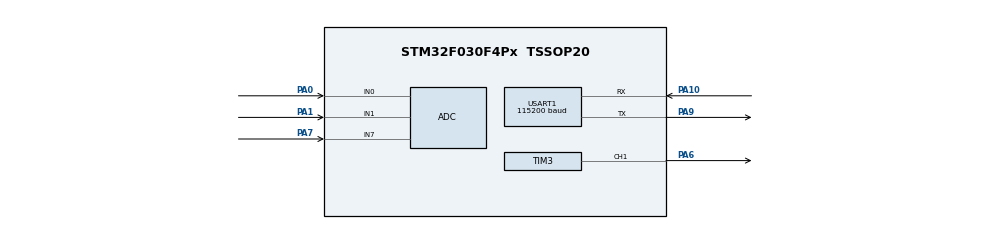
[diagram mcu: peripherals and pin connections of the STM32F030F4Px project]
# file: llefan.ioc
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ADC.ContinuousConvMode=ENABLE
ADC.DMAContinuousRequests=ENABLE
ADC.EOCSelection=ADC_EOC_SINGLE_CONV
ADC.SamplingTime=ADC_SAMPLETIME_55CYCLES_5
Dma.ADC.0.Direction=DMA_PERIPH_TO_MEMORY
Dma.ADC.0.Instance=DMA1_Channel1
Dma.ADC.0.MemDataAlignment=DMA_MDATAALIGN_HALFWORD
Dma.ADC.0.MemInc=DMA_MINC_ENABLE
Dma.ADC.0.Mode=DMA_CIRCULAR
Dma.ADC.0.PeriphDataAlignment=DMA_PDATAALIGN_HALFWORD
Dma.ADC.0.PeriphInc=DMA_PINC_DISABLE
Dma.ADC.0.Priority=DMA_PRIORITY_LOW
Dma.Request0=ADC
Mcu.Family=STM32F0
Mcu.Name=STM32F030F4Px
Mcu.Package=TSSOP20
NVIC.DMA1_Channel1_IRQn=true\:1\:0\:true\:false\:true\:false\:true
NVIC.USART1_IRQn=true\:2\:0\:true\:false\:true\:true\:true
PA0.Mode=IN0
PA0.Signal=ADC_IN0
PA1.Mode=IN1
PA1.Signal=ADC_IN1
PA10.Mode=Asynchronous
PA10.Signal=USART1_RX
PA13.Mode=Serial_Wire
PA13.Signal=SYS_SWDIO
PA14.Mode=Serial_Wire
PA14.Signal=SYS_SWCLK
PA6.Signal=S_TIM3_CH1
PA7.Mode=IN7
PA7.Signal=ADC_IN7
PA9.Mode=Asynchronous
PA9.Signal=USART1_TX
ProjectManager.HeapSize=0x200
ProjectManager.StackSize=0x400
ProjectManager.TargetToolchain=Makefile
RCC.AHBFreq_Value=48000000
RCC.APB1Freq_Value=48000000
RCC.APB1TimFreq_Value=48000000
RCC.HCLKFreq_Value=48000000
RCC.PLLMUL=RCC_PLL_MUL12
RCC.SYSCLKFreq_VALUE=48000000
RCC.SYSCLKSource=RCC_SYSCLKSOURCE_PLLCLK
SH.S_TIM3_CH1.0=TIM3_CH1,PWM Generation1 CH1
TIM3.AutoReloadPreload=TIM_AUTORELOAD_PRELOAD_ENABLE
TIM3.Channel-PWM\ Generation1\ CH1=TIM_CHANNEL_1
TIM3.Period=256
USART1.BaudRate=115200
USART1.VirtualMode-Asynchronous=VM_ASYNC
board=custom

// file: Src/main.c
/* USER CODE BEGIN Header */
/**
  ******************************************************************************
  * @file           : main.c
  * @brief          : Main program body
  ******************************************************************************
  * @attention
  *
  * <h2><center>&copy; Copyright (c) 2019 STMicroelectronics.
  * All rights reserved.</center></h2>
  *
  * This software component is licensed by ST under BSD 3-Clause license,
  * the "License"; You may not use this file except in compliance with the
  * License. You may obtain a copy of the License at:
  *                        opensource.org/licenses/BSD-3-Clause
  *
  ******************************************************************************
  */
/* USER CODE END Header */

#include "main.h"

/* USER CODE BEGIN Includes */
#include "adc.h"
#include "stdio.h"
/* USER CODE END Includes */

/* USER CODE BEGIN PV */
extern uint32_t ticks;
/* USER CODE END PV */

void SystemClock_Config(void);
static void MX_GPIO_Init(void);
static void MX_DMA_Init(void);
static void MX_ADC_Init(void);
static void MX_USART1_UART_Init(void);
static void MX_TIM3_Init(void);

int main(void)
{

  /* MCU Configuration--------------------------------------------------------*/

  /* Reset of all peripherals, Initializes the Flash interface and the Systick. */

  LL_APB1_GRP2_EnableClock(LL_APB1_GRP2_PERIPH_SYSCFG);
  LL_APB1_GRP1_EnableClock(LL_APB1_GRP1_PERIPH_PWR);

  /* System interrupt init*/

  /* Configure the system clock */
  SystemClock_Config();

  /* Initialize all configured peripherals */
  MX_GPIO_Init();
  MX_DMA_Init();
  MX_ADC_Init();
  MX_USART1_UART_Init();
  MX_TIM3_Init();
  /* USER CODE BEGIN 2 */
  LL_SYSTICK_EnableIT();
  start_adc_dma(ADC1, DMA1);
  LL_TIM_CC_EnableChannel(TIM3, LL_TIM_CHANNEL_CH1);
  LL_TIM_EnableCounter(TIM3);

  LL_TIM_CC_EnableChannel(TIM14, LL_TIM_CHANNEL_CH1);
  LL_TIM_EnableCounter(TIM14);
  LL_TIM_EnableIT_UPDATE(TIM14);
  /* USER CODE END 2 */

  /* Infinite loop */
  while (1)
  {

  }
}

void SystemClock_Config(void)
{
  LL_FLASH_SetLatency(LL_FLASH_LATENCY_1);

  if(LL_FLASH_GetLatency() != LL_FLASH_LATENCY_1)
  {
  Error_Handler();
  }
  LL_RCC_HSI_Enable();

   /* Wait till HSI is ready */
  while(LL_RCC_HSI_IsReady() != 1)
  {

  }
  LL_RCC_HSI_SetCalibTrimming(16);
  LL_RCC_HSI14_Enable();

   /* Wait till HSI14 is ready */
  while(LL_RCC_HSI14_IsReady() != 1)
  {

  }
  LL_RCC_HSI14_SetCalibTrimming(16);
  LL_RCC_PLL_ConfigDomain_SYS(LL_RCC_PLLSOURCE_HSI_DIV_2, LL_RCC_PLL_MUL_12);
  LL_RCC_PLL_Enable();

   /* Wait till PLL is ready */
  while(LL_RCC_PLL_IsReady() != 1)
  {

  }
  LL_RCC_SetAHBPrescaler(LL_RCC_SYSCLK_DIV_1);
  LL_RCC_SetAPB1Prescaler(LL_RCC_APB1_DIV_1);
  LL_RCC_SetSysClkSource(LL_RCC_SYS_CLKSOURCE_PLL);

   /* Wait till System clock is ready */
  while(LL_RCC_GetSysClkSource() != LL_RCC_SYS_CLKSOURCE_STATUS_PLL)
  {

  }
  LL_Init1msTick(48000000);
  LL_SYSTICK_SetClkSource(LL_SYSTICK_CLKSOURCE_HCLK);
  LL_SetSystemCoreClock(48000000);
  LL_RCC_HSI14_EnableADCControl();
  LL_RCC_SetUSARTClockSource(LL_RCC_USART1_CLKSOURCE_PCLK1);
}

static void MX_ADC_Init(void)
{

  LL_ADC_InitTypeDef ADC_InitStruct = {0};
  LL_ADC_REG_InitTypeDef ADC_REG_InitStruct = {0};

  LL_GPIO_InitTypeDef GPIO_InitStruct = {0};

  /* Peripheral clock enable */
  LL_APB1_GRP2_EnableClock(LL_APB1_GRP2_PERIPH_ADC1);

  LL_AHB1_GRP1_EnableClock(LL_AHB1_GRP1_PERIPH_GPIOA);
  /**ADC GPIO Configuration
  PA0   ------> ADC_IN0
  PA1   ------> ADC_IN1
  PA7   ------> ADC_IN7
  */
  GPIO_InitStruct.Pin = LL_GPIO_PIN_0;
  GPIO_InitStruct.Mode = LL_GPIO_MODE_ANALOG;
  GPIO_InitStruct.Pull = LL_GPIO_PULL_NO;
  LL_GPIO_Init(GPIOA, &GPIO_InitStruct);

  GPIO_InitStruct.Pin = LL_GPIO_PIN_1;
  GPIO_InitStruct.Mode = LL_GPIO_MODE_ANALOG;
  GPIO_InitStruct.Pull = LL_GPIO_PULL_NO;
  LL_GPIO_Init(GPIOA, &GPIO_InitStruct);

  GPIO_InitStruct.Pin = LL_GPIO_PIN_7;
  GPIO_InitStruct.Mode = LL_GPIO_MODE_ANALOG;
  GPIO_InitStruct.Pull = LL_GPIO_PULL_NO;
  LL_GPIO_Init(GPIOA, &GPIO_InitStruct);

  /* ADC DMA Init */

  /* ADC Init */
  LL_DMA_SetDataTransferDirection(DMA1, LL_DMA_CHANNEL_1, LL_DMA_DIRECTION_PERIPH_TO_MEMORY);

  LL_DMA_SetChannelPriorityLevel(DMA1, LL_DMA_CHANNEL_1, LL_DMA_PRIORITY_LOW);

  LL_DMA_SetMode(DMA1, LL_DMA_CHANNEL_1, LL_DMA_MODE_CIRCULAR);

  LL_DMA_SetPeriphIncMode(DMA1, LL_DMA_CHANNEL_1, LL_DMA_PERIPH_NOINCREMENT);

  LL_DMA_SetMemoryIncMode(DMA1, LL_DMA_CHANNEL_1, LL_DMA_MEMORY_INCREMENT);

  LL_DMA_SetPeriphSize(DMA1, LL_DMA_CHANNEL_1, LL_DMA_PDATAALIGN_HALFWORD);

  LL_DMA_SetMemorySize(DMA1, LL_DMA_CHANNEL_1, LL_DMA_MDATAALIGN_HALFWORD);

  /** Configure Regular Channel
  */
  LL_ADC_REG_SetSequencerChAdd(ADC1, LL_ADC_CHANNEL_0);
  /** Configure Regular Channel
  */
  LL_ADC_REG_SetSequencerChAdd(ADC1, LL_ADC_CHANNEL_1);
  /** Configure Regular Channel
  */
  LL_ADC_REG_SetSequencerChAdd(ADC1, LL_ADC_CHANNEL_7);
  /** Configure the global features of the ADC (Clock, Resolution, Data Alignment and number of conversion)
  */
  ADC_InitStruct.Clock = LL_ADC_CLOCK_ASYNC;
  ADC_InitStruct.Resolution = LL_ADC_RESOLUTION_12B;
  ADC_InitStruct.DataAlignment = LL_ADC_DATA_ALIGN_RIGHT;
  ADC_InitStruct.LowPowerMode = LL_ADC_LP_MODE_NONE;
  LL_ADC_Init(ADC1, &ADC_InitStruct);
  ADC_REG_InitStruct.TriggerSource = LL_ADC_REG_TRIG_SOFTWARE;
  ADC_REG_InitStruct.SequencerDiscont = LL_ADC_REG_SEQ_DISCONT_DISABLE;
  ADC_REG_InitStruct.ContinuousMode = LL_ADC_REG_CONV_CONTINUOUS;
  ADC_REG_InitStruct.DMATransfer = LL_ADC_REG_DMA_TRANSFER_UNLIMITED;
  ADC_REG_InitStruct.Overrun = LL_ADC_REG_OVR_DATA_PRESERVED;
  LL_ADC_REG_Init(ADC1, &ADC_REG_InitStruct);
  LL_ADC_REG_SetSequencerScanDirection(ADC1, LL_ADC_REG_SEQ_SCAN_DIR_FORWARD);
  LL_ADC_SetSamplingTimeCommonChannels(ADC1, LL_ADC_SAMPLINGTIME_55CYCLES_5);
  LL_ADC_DisableIT_EOC(ADC1);
  LL_ADC_DisableIT_EOS(ADC1);

}

static void MX_TIM3_Init(void)
{

  LL_TIM_InitTypeDef TIM_InitStruct = {0};
  LL_TIM_OC_InitTypeDef TIM_OC_InitStruct = {0};

  LL_GPIO_InitTypeDef GPIO_InitStruct = {0};

  /* Peripheral clock enable */
  LL_APB1_GRP1_EnableClock(LL_APB1_GRP1_PERIPH_TIM3);

  TIM_InitStruct.Prescaler = 0;
  TIM_InitStruct.CounterMode = LL_TIM_COUNTERMODE_UP;
  TIM_InitStruct.Autoreload = 256;
  TIM_InitStruct.ClockDivision = LL_TIM_CLOCKDIVISION_DIV1;
  LL_TIM_Init(TIM3, &TIM_InitStruct);
  LL_TIM_EnableARRPreload(TIM3);
  LL_TIM_OC_EnablePreload(TIM3, LL_TIM_CHANNEL_CH1);
  TIM_OC_InitStruct.OCMode = LL_TIM_OCMODE_PWM1;
  TIM_OC_InitStruct.OCState = LL_TIM_OCSTATE_DISABLE;
  TIM_OC_InitStruct.OCNState = LL_TIM_OCSTATE_DISABLE;
  TIM_OC_InitStruct.CompareValue = 0;
  TIM_OC_InitStruct.OCPolarity = LL_TIM_OCPOLARITY_HIGH;
  LL_TIM_OC_Init(TIM3, LL_TIM_CHANNEL_CH1, &TIM_OC_InitStruct);
  LL_TIM_OC_DisableFast(TIM3, LL_TIM_CHANNEL_CH1);
  LL_TIM_SetTriggerOutput(TIM3, LL_TIM_TRGO_RESET);
  LL_TIM_DisableMasterSlaveMode(TIM3);
  LL_AHB1_GRP1_EnableClock(LL_AHB1_GRP1_PERIPH_GPIOA);
  /**TIM3 GPIO Configuration
  PA6   ------> TIM3_CH1
  */
  GPIO_InitStruct.Pin = LL_GPIO_PIN_6;
  GPIO_InitStruct.Mode = LL_GPIO_MODE_ALTERNATE;
  GPIO_InitStruct.Speed = LL_GPIO_SPEED_FREQ_LOW;
  GPIO_InitStruct.OutputType = LL_GPIO_OUTPUT_PUSHPULL;
  GPIO_InitStruct.Pull = LL_GPIO_PULL_NO;
  GPIO_InitStruct.Alternate = LL_GPIO_AF_1;
  LL_GPIO_Init(GPIOA, &GPIO_InitStruct);

}

static void MX_USART1_UART_Init(void)
{

  LL_USART_InitTypeDef USART_InitStruct = {0};

  LL_GPIO_InitTypeDef GPIO_InitStruct = {0};

  /* Peripheral clock enable */
  LL_APB1_GRP2_EnableClock(LL_APB1_GRP2_PERIPH_USART1);

  LL_AHB1_GRP1_EnableClock(LL_AHB1_GRP1_PERIPH_GPIOA);
  /**USART1 GPIO Configuration
  PA9   ------> USART1_TX
  PA10   ------> USART1_RX
  */
  GPIO_InitStruct.Pin = LL_GPIO_PIN_9;
  GPIO_InitStruct.Mode = LL_GPIO_MODE_ALTERNATE;
  GPIO_InitStruct.Speed = LL_GPIO_SPEED_FREQ_HIGH;
  GPIO_InitStruct.OutputType = LL_GPIO_OUTPUT_PUSHPULL;
  GPIO_InitStruct.Pull = LL_GPIO_PULL_NO;
  GPIO_InitStruct.Alternate = LL_GPIO_AF_1;
  LL_GPIO_Init(GPIOA, &GPIO_InitStruct);

  GPIO_InitStruct.Pin = LL_GPIO_PIN_10;
  GPIO_InitStruct.Mode = LL_GPIO_MODE_ALTERNATE;
  GPIO_InitStruct.Speed = LL_GPIO_SPEED_FREQ_HIGH;
  GPIO_InitStruct.OutputType = LL_GPIO_OUTPUT_PUSHPULL;
  GPIO_InitStruct.Pull = LL_GPIO_PULL_NO;
  GPIO_InitStruct.Alternate = LL_GPIO_AF_1;
  LL_GPIO_Init(GPIOA, &GPIO_InitStruct);

  /* USART1 interrupt Init */
  NVIC_SetPriority(USART1_IRQn, 2);
  NVIC_EnableIRQ(USART1_IRQn);

  USART_InitStruct.BaudRate = 115200;
  USART_InitStruct.DataWidth = LL_USART_DATAWIDTH_8B;
  USART_InitStruct.StopBits = LL_USART_STOPBITS_1;
  USART_InitStruct.Parity = LL_USART_PARITY_NONE;
  USART_InitStruct.TransferDirection = LL_USART_DIRECTION_TX_RX;
  USART_InitStruct.HardwareFlowControl = LL_USART_HWCONTROL_NONE;
  USART_InitStruct.OverSampling = LL_USART_OVERSAMPLING_16;
  LL_USART_Init(USART1, &USART_InitStruct);
  LL_USART_DisableIT_CTS(USART1);
  LL_USART_ConfigAsyncMode(USART1);
  LL_USART_Enable(USART1);
  /* USER CODE BEGIN USART1_Init 2 */

  LL_USART_EnableIT_RXNE(USART1);
  /* USER CODE END USART1_Init 2 */

}

static void MX_DMA_Init(void)
{

  /* Init with LL driver */
  /* DMA controller clock enable */
  LL_AHB1_GRP1_EnableClock(LL_AHB1_GRP1_PERIPH_DMA1);

  /* DMA interrupt init */
  /* DMA1_Channel1_IRQn interrupt configuration */
  NVIC_SetPriority(DMA1_Channel1_IRQn, 1);
  NVIC_EnableIRQ(DMA1_Channel1_IRQn);

}

static void MX_GPIO_Init(void)
{

  /* GPIO Ports Clock Enable */
  LL_AHB1_GRP1_EnableClock(LL_AHB1_GRP1_PERIPH_GPIOA);

}

/* USER CODE BEGIN 4 */

int _write(int file, char *ptr, int len)
{
  /* Implement your write code here, this is used by puts and printf for example */
  int i = 0;
  for (i = 0; i < len; i++)
  {
    LL_USART_TransmitData8(USART1, (*ptr++));

    while (!LL_USART_IsActiveFlag_TXE(USART1))
      ;
  }
  return len;
}
/* USER CODE END 4 */

void Error_Handler(void)
{
}

/************************ (C) COPYRIGHT STMicroelectronics *****END OF FILE****/
